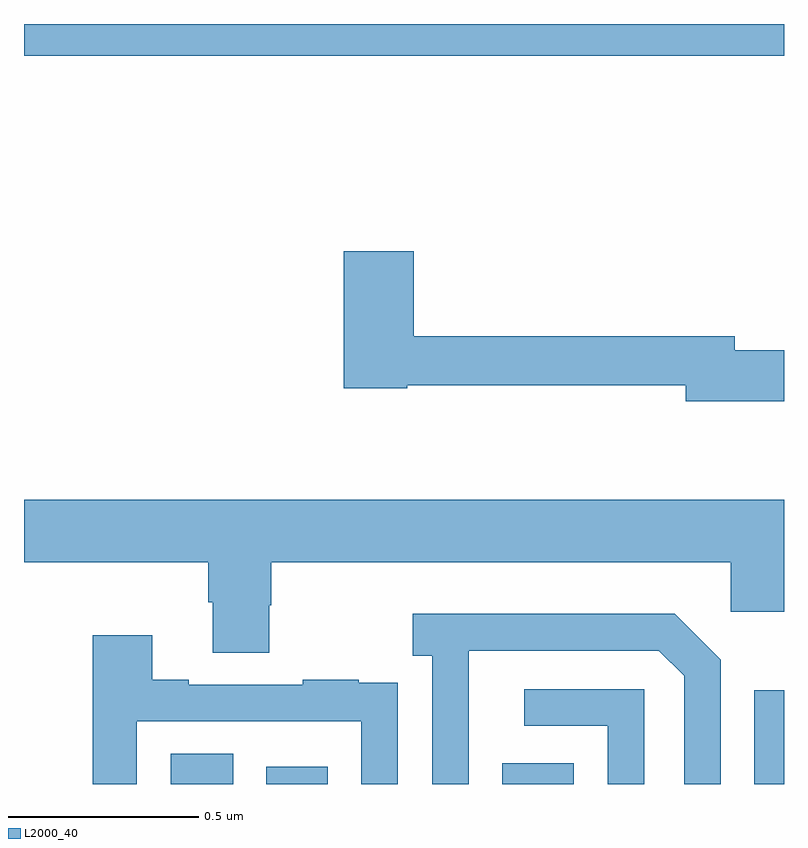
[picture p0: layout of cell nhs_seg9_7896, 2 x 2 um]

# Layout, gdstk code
import gdstk
lib = gdstk.Library(unit=1e-6, precision=1e-09)
def R(c, l, rs):  # rectangles x0, y0, x1, y1
    for r in rs: c.add(gdstk.rectangle(r[:2], r[2:], *l))
def P(c, l, *ps):  # polygons
    for p in ps: c.add(gdstk.Polygon(p, *l))
L2000_40 = (2000, 40)

nhs_seg9_7896 = lib.new_cell('nhs_seg9_7896')
R(nhs_seg9_7896, L2000_40, [(210.386,1198.5,210.55,1198.58), (210.638,1198.5,210.799,1198.546), (211.259,1198.5,211.447,1198.555), (211.922,1198.5,212,1198.747), (210,1200.416,212,1200.5)])
P(nhs_seg9_7896, L2000_40, [(212,1199.642),(211.87,1199.642),(211.87,1199.678),(211.025,1199.678),(211.025,1199.902),(210.842,1199.902),(210.842,1199.542),(211.008,1199.542),(211.008,1199.55),(211.742,1199.55),(211.742,1199.507),(212,1199.507)],
  [(210.645,1198.971),(210.65,1198.971),(210.65,1199.084),(211.86,1199.084),(211.86,1198.953),(212,1198.953),(212,1199.248),(210,1199.248),(210,1199.084),(210.485,1199.084),(210.485,1198.978),(210.497,1198.978),(210.497,1198.846),(210.645,1198.846)],
  [(211.17,1198.651),(211.171,1198.651),(211.171,1198.851),(211.671,1198.851),(211.737,1198.785),(211.737,1198.5),(211.833,1198.5),(211.833,1198.827),(211.712,1198.948),(211.023,1198.948),(211.023,1198.838),(211.074,1198.838),(211.074,1198.5),(211.17,1198.5)],
  [(210.297,1198.665),(210.888,1198.665),(210.888,1198.5),(210.984,1198.5),(210.984,1198.658),(210.983,1198.658),(210.983,1198.767),(210.881,1198.767),(210.881,1198.774),(210.733,1198.774),(210.733,1198.761),(210.433,1198.761),(210.433,1198.774),(210.337,1198.774),(210.337,1198.891),(210.181,1198.891),(210.181,1198.5),(210.297,1198.5)],
  [(211.632,1198.749),(211.317,1198.749),(211.317,1198.653),(211.536,1198.653),(211.536,1198.5),(211.632,1198.5)])

lib.write_gds('nhs_seg9_7896.gds')
